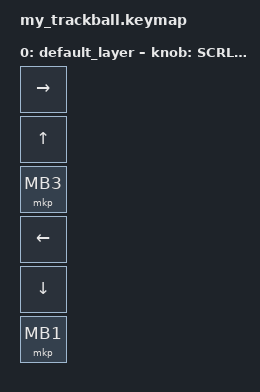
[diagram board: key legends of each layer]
#include <behaviors.dtsi>
#include <dt-bindings/zmk/keys.h>
#include <dt-bindings/zmk/pointing.h>

/ {
    keymap {
        compatible = "zmk,keymap";

        default_layer {
            bindings = <
                &kp RIGHT      // 0: 右矢印
                &kp UP         // 1: ホイール上
                &mkp MB3       // 2: ホイール中
                &kp LEFT       // 3: 左矢印
                &kp DOWN       // 4: ホイール下
                &mkp MB1       // 5: Lボタン
            >;

            sensor-bindings = <&inc_dec_kp SCRL_UP SCRL_DOWN>;
        };
    };
};
